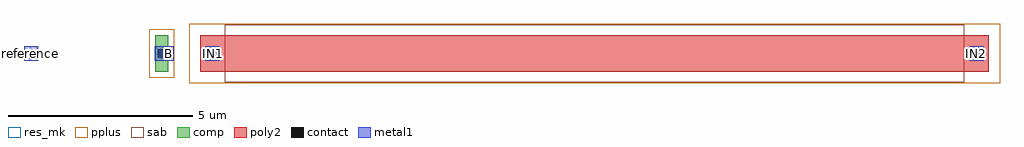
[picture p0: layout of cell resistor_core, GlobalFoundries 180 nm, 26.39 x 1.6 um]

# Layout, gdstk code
import gdstk
lib = gdstk.Library(unit=1e-6, precision=5e-09)
def R(c, l, rs):  # rectangles x0, y0, x1, y1
    for r in rs: c.add(gdstk.rectangle(r[:2], r[2:], *l))
comp = (22, 0)
poly2 = (30, 0)
pplus = (31, 0)
contact = (33, 0)
metal1 = (34, 0)
sab = (49, 0)
res_mk = (110, 5)

ppolyf_u_resistor_1 = lib.new_cell('ppolyf_u_resistor$1')
R(ppolyf_u_resistor_1, comp, [(-1.88,0,-1.52,1)])
R(ppolyf_u_resistor_1, poly2, [(-0.66,0,20.66,1)])
R(ppolyf_u_resistor_1, pplus, [(-0.96,-0.3,20.96,1.3), (-2.04,-0.16,-1.36,1.16)])
R(ppolyf_u_resistor_1, contact, [(-1.81,0.39,-1.59,0.61), (-0.44,0.39,-0.22,0.61), (20.22,0.39,20.44,0.61)])
R(ppolyf_u_resistor_1, metal1, [(-1.89,0.31,-1.51,0.69), (-0.52,0.31,-0.14,0.69), (20.14,0.31,20.52,0.69)])
R(ppolyf_u_resistor_1, sab, [(0,-0.28,20,1.28)])
R(ppolyf_u_resistor_1, res_mk, [(0,0,20,1)])

resistor_core = lib.new_cell('resistor_core')
R(resistor_core, metal1, [(-6.57,-8.74,-6.19,-8.36), (-2.895,-8.74,-2.515,-8.36), (-1.665,-8.74,-1.285,-8.36), (18.995,-8.74,19.375,-8.36)])
resistor_core.add(gdstk.Reference(ppolyf_u_resistor_1, (-1.145,-9.05)))
resistor_core.add(gdstk.Label('reference', (-6.395,-8.56), layer=34, texttype=10))
resistor_core.add(gdstk.Label('IN2', (19.19,-8.555), layer=34, texttype=10))
resistor_core.add(gdstk.Label('B', (-2.675,-8.56), layer=34, texttype=10))
resistor_core.add(gdstk.Label('IN1', (-1.44,-8.56), layer=34, texttype=10))

lib.write_gds('resistor_core.gds')
